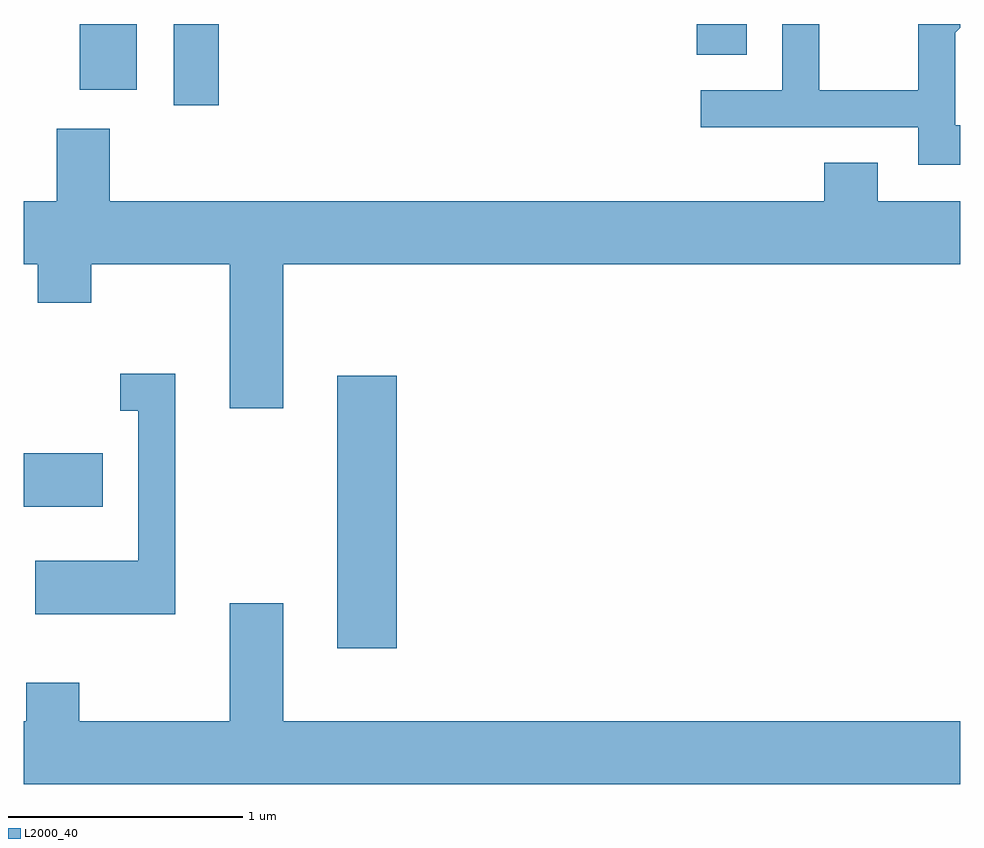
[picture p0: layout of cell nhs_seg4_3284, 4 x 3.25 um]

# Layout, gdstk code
import gdstk
lib = gdstk.Library(unit=1e-6, precision=1e-09)
def R(c, l, rs):  # rectangles x0, y0, x1, y1
    for r in rs: c.add(gdstk.rectangle(r[:2], r[2:], *l))
def P(c, l, *ps):  # polygons
    for p in ps: c.add(gdstk.Polygon(p, *l))
L2000_40 = (2000, 40)

nhs_seg4_3284 = lib.new_cell('nhs_seg4_3284')
R(nhs_seg4_3284, L2000_40, [(282.951,1295.316,283.204,1296.479), (281.611,1295.921,281.949,1296.149), (282.251,1297.636,282.444,1297.982), (281.851,1297.701,282.094,1297.982), (284.486,1297.851,284.699,1297.982)])
P(nhs_seg4_3284, L2000_40, [(285.611,1297.549),(285.589,1297.549),(285.589,1297.944),(285.611,1297.966),(285.611,1297.982),(285.431,1297.982),(285.431,1297.699),(285.009,1297.699),(285.009,1297.982),(284.851,1297.982),(284.851,1297.699),(284.503,1297.699),(284.503,1297.541),(285.431,1297.541),(285.431,1297.381),(285.611,1297.381)],
  [(282.719,1296.956),(285.611,1296.956),(285.611,1297.224),(285.259,1297.224),(285.259,1297.389),(285.031,1297.389),(285.031,1297.224),(281.979,1297.224),(281.979,1297.534),(281.751,1297.534),(281.751,1297.224),(281.611,1297.224),(281.611,1296.956),(281.671,1296.956),(281.671,1296.791),(281.899,1296.791),(281.899,1296.956),(282.491,1296.956),(282.491,1296.341),(282.719,1296.341)],
  [(282.259,1296.489),(282.023,1296.489),(282.023,1296.331),(282.101,1296.331),(282.101,1295.689),(281.661,1295.689),(281.661,1295.461),(282.259,1295.461)],
  [(285.611,1295.004),(282.719,1295.004),(282.719,1295.509),(282.491,1295.509),(282.491,1295.004),(281.849,1295.004),(281.849,1295.169),(281.621,1295.169),(281.621,1295.004),(281.611,1295.004),(281.611,1294.736),(285.611,1294.736)])

lib.write_gds('nhs_seg4_3284.gds')
